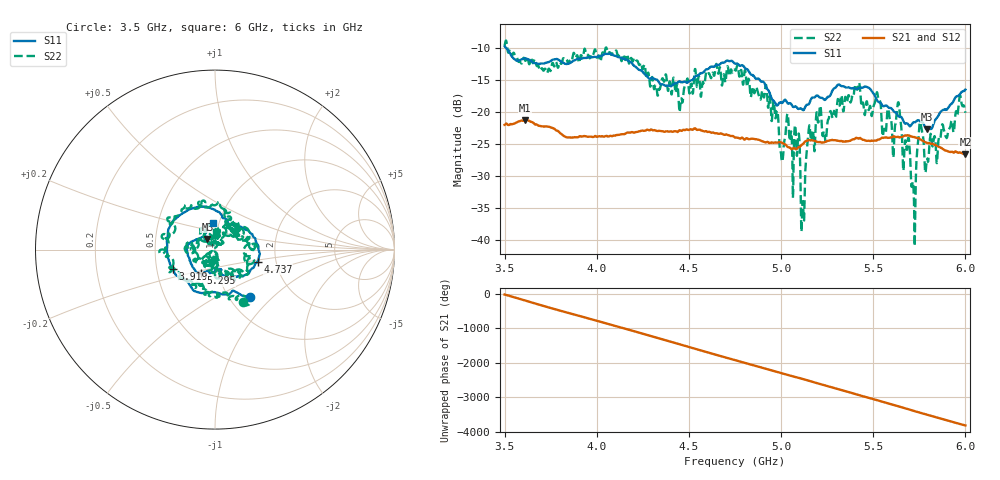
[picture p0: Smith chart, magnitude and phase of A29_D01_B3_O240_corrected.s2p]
! Created with skrf 1.9.0 (http://scikit-rf.org).
# Hz S RI R 50.0
!freq ReS11 ImS11 ReS21 ImS21 ReS12 ImS12 ReS22 ImS22
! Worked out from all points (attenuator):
!   1601 points, 3.5 GHz to 6 GHz, reference 50 ohm
!   highest |S21| = -21.31 dB at 3.611 GHz (marker M1); lowest = -26.6 dB at 6 GHz (marker M2)
!   lowest |S11| = -22.7 dB at 5.791 GHz (marker M3), VSWR 1.16, Z = 45.6 + j5.47 ohm
!   |S11| at or under -10 dB: 3.507 GHz to end of sweep
!   |S22| runs from -40.9 to -8.9 dB; largest |S21 - S12| = 0.0012
!   S11 on the Smith chart (normalised r, x): 3.5 GHz: 1.24, -0.73; 3.919 GHz: 0.61, -0.14; 4.737 GHz: 1.60, -0.23; 5.295 GHz: 0.82, -0.22; 6 GHz: 0.94, +0.28
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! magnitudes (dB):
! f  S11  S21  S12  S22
! 3.5 GHz  -9.8  -22.0  -22.0  -9.6
! 3.611 GHz  -11.6  -21.3  -21.3  -12.0
! 3.917 GHz  -11.7  -23.9  -23.9  -11.2
! 3.919 GHz  -11.7  -23.9  -23.9  -11.3
! 4.334 GHz  -15.3  -23.0  -22.9  -17.1
! 4.737 GHz  -12.1  -23.8  -23.8  -13.8
! 4.75 GHz  -12.5  -24.0  -23.9  -13.5
! 4.927 GHz  -16.5  -24.7  -24.7  -18.5
! 5.003 GHz  -18.6  -24.8  -24.8  -27.5
! 5.031 GHz  -18.5  -25.3  -25.3  -20.8
! 5.086 GHz  -19.3  -25.7  -25.7  -26.9
! 5.117 GHz  -19.7  -25.1  -25.0  -33.9
! 5.145 GHz  -18.9  -24.4  -24.4  -24.3
! 5.167 GHz  -17.8  -24.4  -24.4  -23.7
! 5.295 GHz  -16.2  -24.5  -24.4  -21.0
! 5.414 GHz  -16.4  -24.1  -24.2  -16.3
! 5.584 GHz  -19.4  -24.0  -24.0  -20.0
! 5.641 GHz  -20.8  -24.0  -23.9  -19.2
! 5.717 GHz  -21.7  -23.9  -23.9  -31.3
! 5.755 GHz  -21.5  -24.3  -24.2  -21.6
! 5.791 GHz  -22.7  -24.8  -24.8  -27.5
! 6 GHz  -16.5  -26.6  -26.6  -20.1
